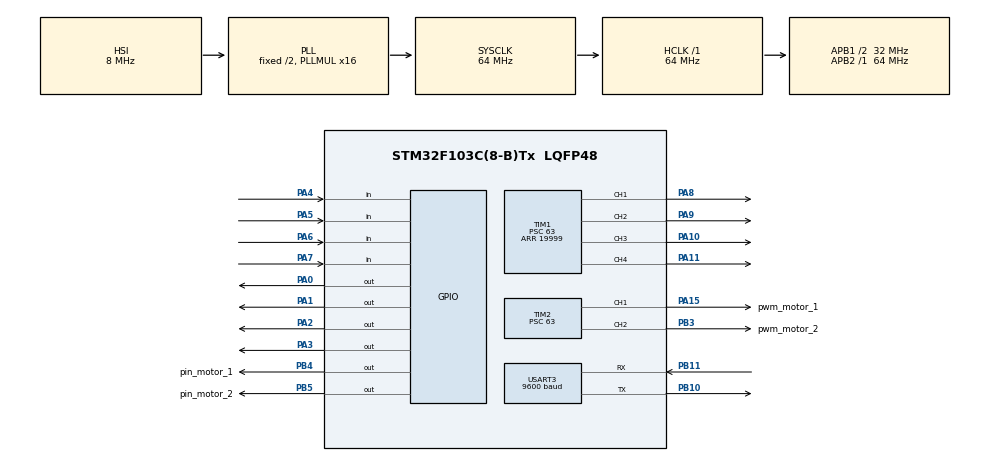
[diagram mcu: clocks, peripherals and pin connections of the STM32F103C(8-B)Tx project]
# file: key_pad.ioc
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Mcu.Family=STM32F1
Mcu.Name=STM32F103C(8-B)Tx
Mcu.Package=LQFP48
NVIC.PriorityGroup=NVIC_PRIORITYGROUP_4
NVIC.TIM1_UP_IRQn=true\:0\:0\:false\:false\:true\:true\:true\:true
NVIC.USART3_IRQn=true\:1\:0\:true\:false\:true\:true\:true\:true
PA0-WKUP.Signal=GPIO_Output
PA1.Signal=GPIO_Output
PA10.Signal=S_TIM1_CH3
PA11.Signal=S_TIM1_CH4
PA13.Mode=Serial_Wire
PA13.Signal=SYS_JTMS-SWDIO
PA14.Mode=Serial_Wire
PA14.Signal=SYS_JTCK-SWCLK
PA15.GPIO_Label=pwm_motor_1
PA15.Signal=S_TIM2_CH1_ETR
PA2.Signal=GPIO_Output
PA3.Signal=GPIO_Output
PA4.GPIO_Mode=GPIO_MODE_INPUT
PA4.GPIO_PuPd=GPIO_PULLUP
PA4.Signal=GPIO_Input
PA5.GPIO_Mode=GPIO_MODE_INPUT
PA5.GPIO_PuPd=GPIO_PULLUP
PA5.Signal=GPIO_Input
PA6.GPIO_Mode=GPIO_MODE_INPUT
PA6.GPIO_PuPd=GPIO_PULLUP
PA6.Signal=GPIO_Input
PA7.GPIO_Mode=GPIO_MODE_INPUT
PA7.GPIO_PuPd=GPIO_PULLUP
PA7.Signal=GPIO_Input
PA8.Signal=S_TIM1_CH1
PA9.Signal=S_TIM1_CH2
PB10.Mode=Asynchronous
PB10.Signal=USART3_TX
PB11.Mode=Asynchronous
PB11.Signal=USART3_RX
PB3.GPIO_Label=pwm_motor_2
PB3.Signal=S_TIM2_CH2
PB4.GPIO_Label=pin_motor_1
PB4.Signal=GPIO_Output
PB5.GPIO_Label=pin_motor_2
PB5.Signal=GPIO_Output
ProjectManager.HeapSize=0x200
ProjectManager.StackSize=0x400
ProjectManager.TargetToolchain=STM32CubeIDE
RCC.AHBFreq_Value=64000000
RCC.APB1CLKDivider=RCC_HCLK_DIV2
RCC.APB1Freq_Value=32000000
RCC.APB1TimFreq_Value=64000000
RCC.APB2Freq_Value=64000000
RCC.APB2TimFreq_Value=64000000
RCC.HCLKFreq_Value=64000000
RCC.PLLMUL=RCC_PLL_MUL16
RCC.SYSCLKFreq_VALUE=64000000
RCC.SYSCLKSource=RCC_SYSCLKSOURCE_PLLCLK
RCC.USBFreq_Value=64000000
SH.S_TIM1_CH1.0=TIM1_CH1,PWM Generation1 CH1
SH.S_TIM1_CH2.0=TIM1_CH2,PWM Generation2 CH2
SH.S_TIM1_CH3.0=TIM1_CH3,PWM Generation3 CH3
SH.S_TIM1_CH4.0=TIM1_CH4,PWM Generation4 CH4
SH.S_TIM2_CH1_ETR.0=TIM2_CH1,PWM Generation1 CH1
SH.S_TIM2_CH2.0=TIM2_CH2,PWM Generation2 CH2
TIM1.Channel-PWM\ Generation1\ CH1=TIM_CHANNEL_1
TIM1.Channel-PWM\ Generation2\ CH2=TIM_CHANNEL_2
TIM1.Channel-PWM\ Generation3\ CH3=TIM_CHANNEL_3
TIM1.Channel-PWM\ Generation4\ CH4=TIM_CHANNEL_4
TIM1.Period=19999
TIM1.Prescaler=63
TIM2.Channel-PWM\ Generation1\ CH1=TIM_CHANNEL_1
TIM2.Channel-PWM\ Generation2\ CH2=TIM_CHANNEL_2
TIM2.Period=999
TIM2.Prescaler=63
USART3.BaudRate=9600
USART3.VirtualMode=VM_ASYNC
VP_TIM1_VS_ClockSourceINT.Mode=Internal
VP_TIM2_VS_ClockSourceINT.Mode=Internal
board=custom

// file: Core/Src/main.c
/* USER CODE BEGIN Header */
/**
  ******************************************************************************
  * @file           : main.c
  * @brief          : Main program body
  ******************************************************************************
  * @attention
  *
  * Copyright (c) 2025 STMicroelectronics.
  * All rights reserved.
  *
  * This software is licensed under terms that can be found in the LICENSE file
  * in the root directory of this software component.
  * If no LICENSE file comes with this software, it is provided AS-IS.
  *
  ******************************************************************************
  */
/* USER CODE END Header */
#include "main.h"

/* USER CODE BEGIN Includes */
//#include "Keypad.h"
#include "string.h"
#include "car.h"
/* USER CODE END Includes */

TIM_HandleTypeDef htim1;
TIM_HandleTypeDef htim2;

UART_HandleTypeDef huart3;

/* USER CODE BEGIN PV */
//CLCD_I2C_Name LCD1;
/* USER CODE END PV */

void SystemClock_Config(void);
static void MX_GPIO_Init(void);
static void MX_TIM1_Init(void);
static void MX_TIM2_Init(void);
static void MX_USART3_UART_Init(void);
/* USER CODE BEGIN PFP */
// w u v x

typedef enum
{
	SERVO_1_STATE_UP,
	SERVO_1_STATE_DOWN,
}Servo1State;

typedef enum
{
	SERVO_2_STATE_UP,
	SERVO_2_STATE_DOWN,
}Servo2State;

typedef enum
{
	SERVO_3_STATE_UP,
	SERVO_3_STATE_DOWN,
}Servo3State;

typedef enum
{
	SERVO_4_STATE_UP,
	SERVO_4_STATE_DOWN,
}Servo4State;

Servo1State servo_state_1 = SERVO_1_STATE_UP;
Servo2State servo_state_2 = SERVO_2_STATE_UP;
Servo3State servo_state_3 = SERVO_3_STATE_UP;
Servo4State servo_state_4 = SERVO_4_STATE_UP;

/* USER CODE END PFP */

/* USER CODE BEGIN 0 */
uint8_t data_rx;
uint32_t t_time_1 = 0;
volatile uint8_t uart_flag = 0;
extern uint8_t key_current;

long map(long x, long in_min, long in_max,long out_min, long out_max)
{
	return (x - in_min)*(out_max - out_min)/(in_max - in_min) + out_min;
}

void servo_pwm(TIM_HandleTypeDef *htim, uint32_t channel, int angle)
{
//	uint16_t ARR = __HAL_TIM_GET_AUTORELOAD(htim);
//	uint16_t CCR = 1000+((float)angle/180)*1000;
	uint16_t CCR1 = map(angle,0,180,544,2400);
	__HAL_TIM_SET_COMPARE(htim,channel,CCR1);
}

void delay_us(uint32_t us)
{
	__HAL_TIM_SetCounter(&htim1,0);
	HAL_TIM_Base_Start(&htim1);
	while(__HAL_TIM_GET_COUNTER(&htim1)<us);
	HAL_TIM_Base_Stop(&htim1);
}

int angle3 = 70;
int angle2 = 90;
int angle1 = 90;
int angle4 = 90;

void setup_arm()
{
	servo_pwm(&htim1, TIM_CHANNEL_1, 90);
	servo_pwm(&htim1, TIM_CHANNEL_2, 100);
	servo_pwm(&htim1, TIM_CHANNEL_3, 70);
	servo_pwm(&htim1, TIM_CHANNEL_4, 90);
	car_control(CAR_STOP_STATE, 40);
}

void HAL_UART_RxCpltCallback(UART_HandleTypeDef *huart)
{
	if(huart->Instance == USART3){
		HAL_UART_Receive_IT(huart, &data_rx, 1);
		uart_flag = 1;
	}
}

/* USER CODE END 0 */

int main(void)
{

  /* MCU Configuration--------------------------------------------------------*/

  /* Reset of all peripherals, Initializes the Flash interface and the Systick. */
  HAL_Init();

  /* Configure the system clock */
  SystemClock_Config();

  /* Initialize all configured peripherals */
  MX_GPIO_Init();
  MX_TIM1_Init();
  MX_TIM2_Init();
  MX_USART3_UART_Init();
  /* USER CODE BEGIN 2 */
  HAL_TIM_PWM_Start(&htim1, TIM_CHANNEL_1);
  HAL_TIM_PWM_Start(&htim1, TIM_CHANNEL_2);
  HAL_TIM_PWM_Start(&htim1, TIM_CHANNEL_3);
  HAL_TIM_PWM_Start(&htim1, TIM_CHANNEL_4);
  HAL_UART_Receive_IT(&huart3, &data_rx, 1);
  car_init(&htim2);
  setup_arm();

  /* USER CODE END 2 */

  /* Infinite loop */
  while (1)
  {

    /* USER CODE BEGIN 3 */
	  if(uart_flag)
	  {
		  switch(data_rx)
		  {
			case 'G':
				 switch(servo_state_1)
				 {
					case SERVO_1_STATE_UP:
						if(HAL_GetTick() - t_time_1 >= 200)
						{
							angle1 += 5;
							if(angle1 >= 180) angle1 = 180;
							servo_pwm(&htim1, TIM_CHANNEL_1, angle1);
							t_time_1 = HAL_GetTick();
						}
					break;
					case SERVO_1_STATE_DOWN:
						if(HAL_GetTick() - t_time_1 >= 200)
						{
							angle1 -= 5;
							if(angle1 >= 180) angle1 = 180;
							servo_pwm(&htim1, TIM_CHANNEL_1, angle1);
							t_time_1 = HAL_GetTick();
						}
					break;
				 }
				break;
			case 'w':
				servo_state_1 = SERVO_1_STATE_UP;
				break;
			case 'W':
				servo_state_1 = SERVO_1_STATE_DOWN;
				break;
			case 'I':
				switch(servo_state_2)
				{
					case SERVO_2_STATE_UP:
						if(HAL_GetTick() - t_time_1 >= 200)
						{
							angle2 += 5;
							if(angle2 >= 130) angle2 = 130;
							servo_pwm(&htim1, TIM_CHANNEL_2, angle2);
							t_time_1 = HAL_GetTick();
							}
						break;
					case SERVO_2_STATE_DOWN:
						if(HAL_GetTick() - t_time_1 >= 200)
						{
							angle2 -= 5;
							if(angle2 <= 90) angle2 = 90;
							servo_pwm(&htim1, TIM_CHANNEL_2, angle2);
							t_time_1 = HAL_GetTick();
						}
						break;
					}
				break;
			case 'u':
					servo_state_2 = SERVO_2_STATE_UP;
					break;
			case 'U':
					servo_state_2 = SERVO_2_STATE_DOWN;
					break;
				break;
			case 'H':
				switch(servo_state_3)
				{
					case SERVO_3_STATE_UP:
						if(HAL_GetTick() - t_time_1 >= 200)
						{
							angle3 += 5;
							if(angle3 >= 150) angle3 = 150;
							servo_pwm(&htim1, TIM_CHANNEL_3, angle3);
							t_time_1 = HAL_GetTick();
							}
						break;
					case SERVO_3_STATE_DOWN:
						if(HAL_GetTick() - t_time_1 >= 200)
						{
							angle3 -= 5;
							if(angle3 <= 0) angle3 = 0;
							servo_pwm(&htim1, TIM_CHANNEL_3, angle3);
							t_time_1 = HAL_GetTick();
						}
						break;
					}
				break;
			case 'v':
					servo_state_3 = SERVO_3_STATE_UP;
					break;
			case 'V':
					servo_state_3 = SERVO_3_STATE_DOWN;
					break;
				break;
			case 'J':
				switch(servo_state_4)
				{
					case SERVO_4_STATE_UP:
						if(HAL_GetTick() - t_time_1 >= 200)
						{
							angle4 += 5;
							if(angle4 >= 150) angle4 = 150;
							servo_pwm(&htim1, TIM_CHANNEL_4, angle4);
							t_time_1 = HAL_GetTick();
							}
						break;
					case SERVO_4_STATE_DOWN:
						if(HAL_GetTick() - t_time_1 >= 200)
						{
							angle4 -= 5;
							if(angle4 <= 0) angle4 = 0;
							servo_pwm(&htim1, TIM_CHANNEL_4, angle4);
							t_time_1 = HAL_GetTick();
						}
						break;
					}
				break;
			case 'x':
					servo_state_4 = SERVO_4_STATE_UP;
					break;
			case 'X':
					servo_state_4 = SERVO_4_STATE_DOWN;
					break;
				break;
			case 'F':
				car_control(CAR_FORWARD_STATE, 40);
				break;
			case 'B':
				car_control(CAR_BACKWARD_STATE, 40);
				break;
			case 'R':
				car_control(CAR_LEFT_STATE, 40);
				break;
			case 'L':
				car_control(CAR_RIGHT_STATE, 40);
				break;
			case 'S':
				car_control(CAR_STOP_STATE, 40);
				break;
			case '0':
				setup_arm();
				break;
			default:
				break;
		}
		  }
 }

  /* USER CODE END 3 */
}

void SystemClock_Config(void)
{
  RCC_OscInitTypeDef RCC_OscInitStruct = {0};
  RCC_ClkInitTypeDef RCC_ClkInitStruct = {0};

  /** Initializes the RCC Oscillators according to the specified parameters
  * in the RCC_OscInitTypeDef structure.
  */
  RCC_OscInitStruct.OscillatorType = RCC_OSCILLATORTYPE_HSI;
  RCC_OscInitStruct.HSIState = RCC_HSI_ON;
  RCC_OscInitStruct.HSICalibrationValue = RCC_HSICALIBRATION_DEFAULT;
  RCC_OscInitStruct.PLL.PLLState = RCC_PLL_ON;
  RCC_OscInitStruct.PLL.PLLSource = RCC_PLLSOURCE_HSI_DIV2;
  RCC_OscInitStruct.PLL.PLLMUL = RCC_PLL_MUL16;
  if (HAL_RCC_OscConfig(&RCC_OscInitStruct) != HAL_OK)
  {
    Error_Handler();
  }

  /** Initializes the CPU, AHB and APB buses clocks
  */
  RCC_ClkInitStruct.ClockType = RCC_CLOCKTYPE_HCLK|RCC_CLOCKTYPE_SYSCLK
                              |RCC_CLOCKTYPE_PCLK1|RCC_CLOCKTYPE_PCLK2;
  RCC_ClkInitStruct.SYSCLKSource = RCC_SYSCLKSOURCE_PLLCLK;
  RCC_ClkInitStruct.AHBCLKDivider = RCC_SYSCLK_DIV1;
  RCC_ClkInitStruct.APB1CLKDivider = RCC_HCLK_DIV2;
  RCC_ClkInitStruct.APB2CLKDivider = RCC_HCLK_DIV1;

  if (HAL_RCC_ClockConfig(&RCC_ClkInitStruct, FLASH_LATENCY_2) != HAL_OK)
  {
    Error_Handler();
  }
}

static void MX_TIM1_Init(void)
{

  TIM_ClockConfigTypeDef sClockSourceConfig = {0};
  TIM_MasterConfigTypeDef sMasterConfig = {0};
  TIM_OC_InitTypeDef sConfigOC = {0};
  TIM_BreakDeadTimeConfigTypeDef sBreakDeadTimeConfig = {0};

  htim1.Instance = TIM1;
  htim1.Init.Prescaler = 63;
  htim1.Init.CounterMode = TIM_COUNTERMODE_UP;
  htim1.Init.Period = 19999;
  htim1.Init.ClockDivision = TIM_CLOCKDIVISION_DIV1;
  htim1.Init.RepetitionCounter = 0;
  htim1.Init.AutoReloadPreload = TIM_AUTORELOAD_PRELOAD_DISABLE;
  if (HAL_TIM_Base_Init(&htim1) != HAL_OK)
  {
    Error_Handler();
  }
  sClockSourceConfig.ClockSource = TIM_CLOCKSOURCE_INTERNAL;
  if (HAL_TIM_ConfigClockSource(&htim1, &sClockSourceConfig) != HAL_OK)
  {
    Error_Handler();
  }
  if (HAL_TIM_PWM_Init(&htim1) != HAL_OK)
  {
    Error_Handler();
  }
  sMasterConfig.MasterOutputTrigger = TIM_TRGO_RESET;
  sMasterConfig.MasterSlaveMode = TIM_MASTERSLAVEMODE_DISABLE;
  if (HAL_TIMEx_MasterConfigSynchronization(&htim1, &sMasterConfig) != HAL_OK)
  {
    Error_Handler();
  }
  sConfigOC.OCMode = TIM_OCMODE_PWM1;
  sConfigOC.Pulse = 0;
  sConfigOC.OCPolarity = TIM_OCPOLARITY_HIGH;
  sConfigOC.OCNPolarity = TIM_OCNPOLARITY_HIGH;
  sConfigOC.OCFastMode = TIM_OCFAST_DISABLE;
  sConfigOC.OCIdleState = TIM_OCIDLESTATE_RESET;
  sConfigOC.OCNIdleState = TIM_OCNIDLESTATE_RESET;
  if (HAL_TIM_PWM_ConfigChannel(&htim1, &sConfigOC, TIM_CHANNEL_1) != HAL_OK)
  {
    Error_Handler();
  }
  if (HAL_TIM_PWM_ConfigChannel(&htim1, &sConfigOC, TIM_CHANNEL_2) != HAL_OK)
  {
    Error_Handler();
  }
  if (HAL_TIM_PWM_ConfigChannel(&htim1, &sConfigOC, TIM_CHANNEL_3) != HAL_OK)
  {
    Error_Handler();
  }
  if (HAL_TIM_PWM_ConfigChannel(&htim1, &sConfigOC, TIM_CHANNEL_4) != HAL_OK)
  {
    Error_Handler();
  }
  sBreakDeadTimeConfig.OffStateRunMode = TIM_OSSR_DISABLE;
  sBreakDeadTimeConfig.OffStateIDLEMode = TIM_OSSI_DISABLE;
  sBreakDeadTimeConfig.LockLevel = TIM_LOCKLEVEL_OFF;
  sBreakDeadTimeConfig.DeadTime = 0;
  sBreakDeadTimeConfig.BreakState = TIM_BREAK_DISABLE;
  sBreakDeadTimeConfig.BreakPolarity = TIM_BREAKPOLARITY_HIGH;
  sBreakDeadTimeConfig.AutomaticOutput = TIM_AUTOMATICOUTPUT_DISABLE;
  if (HAL_TIMEx_ConfigBreakDeadTime(&htim1, &sBreakDeadTimeConfig) != HAL_OK)
  {
    Error_Handler();
  }
  HAL_TIM_MspPostInit(&htim1);

}

static void MX_TIM2_Init(void)
{

  TIM_ClockConfigTypeDef sClockSourceConfig = {0};
  TIM_MasterConfigTypeDef sMasterConfig = {0};
  TIM_OC_InitTypeDef sConfigOC = {0};

  htim2.Instance = TIM2;
  htim2.Init.Prescaler = 63;
  htim2.Init.CounterMode = TIM_COUNTERMODE_UP;
  htim2.Init.Period = 999;
  htim2.Init.ClockDivision = TIM_CLOCKDIVISION_DIV1;
  htim2.Init.AutoReloadPreload = TIM_AUTORELOAD_PRELOAD_DISABLE;
  if (HAL_TIM_Base_Init(&htim2) != HAL_OK)
  {
    Error_Handler();
  }
  sClockSourceConfig.ClockSource = TIM_CLOCKSOURCE_INTERNAL;
  if (HAL_TIM_ConfigClockSource(&htim2, &sClockSourceConfig) != HAL_OK)
  {
    Error_Handler();
  }
  if (HAL_TIM_PWM_Init(&htim2) != HAL_OK)
  {
    Error_Handler();
  }
  sMasterConfig.MasterOutputTrigger = TIM_TRGO_RESET;
  sMasterConfig.MasterSlaveMode = TIM_MASTERSLAVEMODE_DISABLE;
  if (HAL_TIMEx_MasterConfigSynchronization(&htim2, &sMasterConfig) != HAL_OK)
  {
    Error_Handler();
  }
  sConfigOC.OCMode = TIM_OCMODE_PWM1;
  sConfigOC.Pulse = 0;
  sConfigOC.OCPolarity = TIM_OCPOLARITY_HIGH;
  sConfigOC.OCFastMode = TIM_OCFAST_DISABLE;
  if (HAL_TIM_PWM_ConfigChannel(&htim2, &sConfigOC, TIM_CHANNEL_1) != HAL_OK)
  {
    Error_Handler();
  }
  if (HAL_TIM_PWM_ConfigChannel(&htim2, &sConfigOC, TIM_CHANNEL_2) != HAL_OK)
  {
    Error_Handler();
  }
  HAL_TIM_MspPostInit(&htim2);

}

static void MX_USART3_UART_Init(void)
{

  huart3.Instance = USART3;
  huart3.Init.BaudRate = 9600;
  huart3.Init.WordLength = UART_WORDLENGTH_8B;
  huart3.Init.StopBits = UART_STOPBITS_1;
  huart3.Init.Parity = UART_PARITY_NONE;
  huart3.Init.Mode = UART_MODE_TX_RX;
  huart3.Init.HwFlowCtl = UART_HWCONTROL_NONE;
  huart3.Init.OverSampling = UART_OVERSAMPLING_16;
  if (HAL_UART_Init(&huart3) != HAL_OK)
  {
    Error_Handler();
  }

}

static void MX_GPIO_Init(void)
{
  GPIO_InitTypeDef GPIO_InitStruct = {0};

  /* GPIO Ports Clock Enable */
  __HAL_RCC_GPIOA_CLK_ENABLE();
  __HAL_RCC_GPIOB_CLK_ENABLE();

  /*Configure GPIO pin Output Level */
  HAL_GPIO_WritePin(GPIOA, GPIO_PIN_0|GPIO_PIN_1|GPIO_PIN_2|GPIO_PIN_3, GPIO_PIN_RESET);

  /*Configure GPIO pin Output Level */
  HAL_GPIO_WritePin(GPIOB, pin_motor_1_Pin|pin_motor_2_Pin, GPIO_PIN_RESET);

  /*Configure GPIO pins : PA0 PA1 PA2 PA3 */
  GPIO_InitStruct.Pin = GPIO_PIN_0|GPIO_PIN_1|GPIO_PIN_2|GPIO_PIN_3;
  GPIO_InitStruct.Mode = GPIO_MODE_OUTPUT_PP;
  GPIO_InitStruct.Pull = GPIO_NOPULL;
  GPIO_InitStruct.Speed = GPIO_SPEED_FREQ_LOW;
  HAL_GPIO_Init(GPIOA, &GPIO_InitStruct);

  /*Configure GPIO pins : PA4 PA5 PA6 PA7 */
  GPIO_InitStruct.Pin = GPIO_PIN_4|GPIO_PIN_5|GPIO_PIN_6|GPIO_PIN_7;
  GPIO_InitStruct.Mode = GPIO_MODE_INPUT;
  GPIO_InitStruct.Pull = GPIO_PULLUP;
  HAL_GPIO_Init(GPIOA, &GPIO_InitStruct);

  /*Configure GPIO pins : pin_motor_1_Pin pin_motor_2_Pin */
  GPIO_InitStruct.Pin = pin_motor_1_Pin|pin_motor_2_Pin;
  GPIO_InitStruct.Mode = GPIO_MODE_OUTPUT_PP;
  GPIO_InitStruct.Pull = GPIO_NOPULL;
  GPIO_InitStruct.Speed = GPIO_SPEED_FREQ_LOW;
  HAL_GPIO_Init(GPIOB, &GPIO_InitStruct);

}

void Error_Handler(void)
{
  __disable_irq();
  while (1)
  {
  }
}
